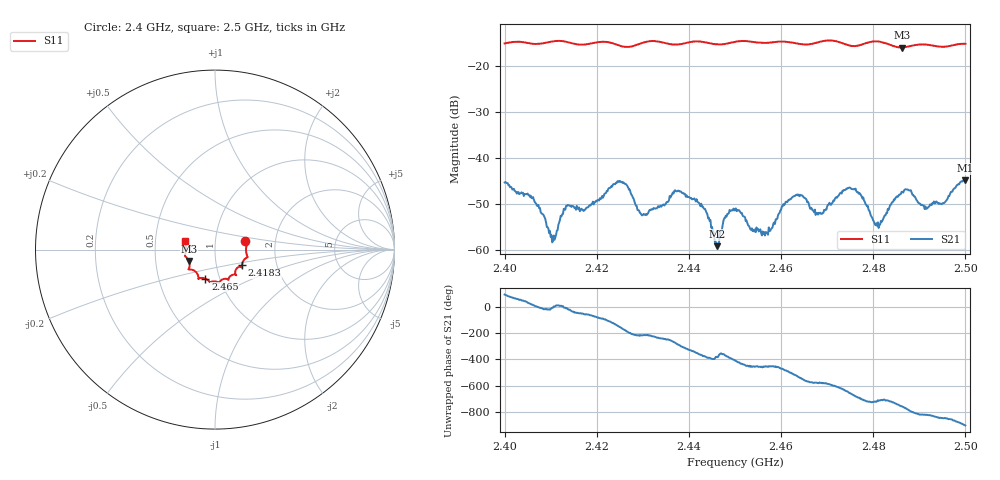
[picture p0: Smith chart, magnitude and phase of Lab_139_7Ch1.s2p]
# Hz S RI R 50
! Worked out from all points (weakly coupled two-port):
!   601 points, 2.4 GHz to 2.5 GHz, reference 50 ohm
!   highest |S21| = -44.88 dB at 2.5 GHz (marker M1); lowest = -59.2 dB at 2.4462 GHz (marker M2)
!   lowest |S11| = -16.0 dB at 2.4862 GHz (marker M3), VSWR 1.37, Z = 37.1 - j4.82 ohm
!   |S11| at or under -10 dB: start of sweep to end of sweep
!   S12 and S22 are empty: the file has one direction only
!   S11 on the Smith chart (normalised r, x): 2.4 GHz: 1.40, +0.13; 2.4183 GHz: 1.33, -0.24; 2.465 GHz: 0.86, -0.29; 2.5 GHz: 0.71, +0.07
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2.4e9  0.1691 0.0457  -0.000263 0.00539  0 0  0 0
2.405833e9  0.1737 0.0106  0.0035 0.0011  0 0  0 0
2.4105e9  0.1803 -0.0373  0.00124 -0.000157  0 0  0 0
2.413333e9  0.1768 -0.045  0.00293 -0.000611  0 0  0 0
2.416667e9  0.1549 -0.0684  0.00172 -0.00221  0 0  0 0
2.418333e9  0.1499 -0.0868  0.0015 -0.00262  0 0  0 0
2.425e9  0.1341 -0.0966  -0.00506 -0.00245  0 0  0 0
2.429833e9  0.1134 -0.1355  -0.00187 0.00145  0 0  0 0
2.433333e9  0.1168 -0.1413  -0.00173 0.00244  0 0  0 0
2.437333e9  0.0869 -0.1461  0.000899 0.00423  0 0  0 0
2.441333e9  0.0749 -0.1682  0.00338 0.000961  0 0  0 0
2.446167e9  0.0515 -0.163  0.00101 -0.00043  0 0  0 0
2.45e9  0.0251 -0.1805  0.00182 -0.00202  0 0  0 0
2.456667e9  -0.00696 -0.1772  -2.67e-05 -0.00156  0 0  0 0
2.465e9  -0.0529 -0.1621  -0.00354 0.00102  0 0  0 0
2.466667e9  -0.0714 -0.1576  -0.00233 0.00155  0 0  0 0
2.474667e9  -0.099 -0.1343  0.00171 0.00439  0 0  0 0
2.480833e9  -0.1482 -0.1097  0.00183 9.15e-05  0 0  0 0
2.483333e9  -0.142 -0.0959  0.00271 0.000246  0 0  0 0
2.486167e9  -0.1447 -0.0633  0.00346 -0.00251  0 0  0 0
2.491667e9  -0.167 -0.03  -0.000574 -0.00276  0 0  0 0
2.5e9  -0.1666 0.0473  -0.0057 0.000147  0 0  0 0
